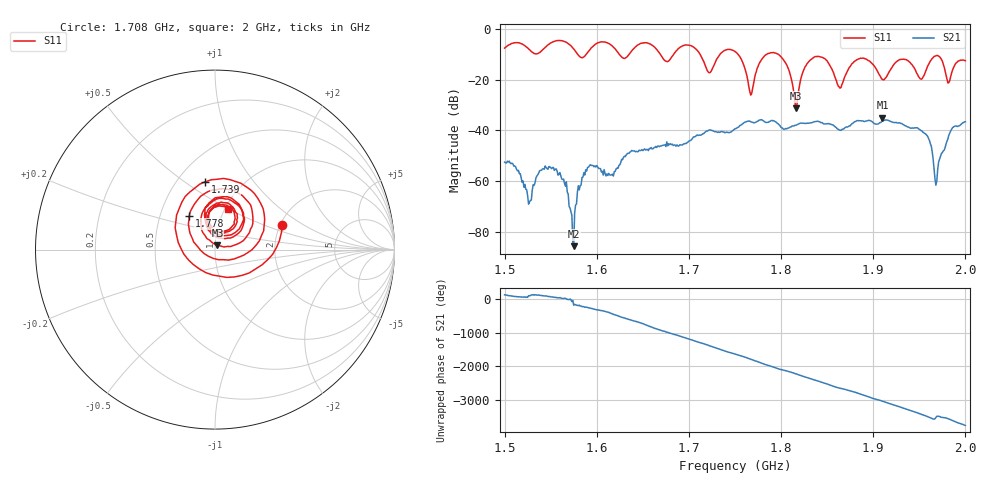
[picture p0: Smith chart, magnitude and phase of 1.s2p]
! NanoVNA-App by SYSJOINT et al v1.1.209 (+OD18)
! Date: 2026-01-21 14:20:16
! Start: 1,5GHz Stop: 2GHz Points: 501
! S-Parameter data: F S11 S21 S12 S22
# Hz S RI R 50
!  Frequency  S11_Real  S11_Imag  S21_Real  S21_Imag  S12_Real  S12_Imag  S22_Real  S22_Imag
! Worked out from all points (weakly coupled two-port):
!   501 points, 1.5 GHz to 2 GHz, reference 50 ohm
!   highest |S21| = -34.96 dB at 1.91 GHz (marker M1); lowest = -85.8 dB at 1.575 GHz (marker M2)
!   lowest |S11| = -31.3 dB at 1.816 GHz (marker M3), VSWR 1.06, Z = 51.4 + j2.4 ohm
!   |S11| at or under -10 dB: 1.712 GHz to 1.734 GHz (21.42 MHz wide, 1.24 % of centre); 1.753 GHz to 1.784 GHz (30.61 MHz wide, 1.73 % of centre); 1.797 GHz to end of sweep (the widest 3 of 6)
!   S12 and S22 are empty: the file has one direction only
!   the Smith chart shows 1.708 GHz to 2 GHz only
!   S11 on the Smith chart (normalised r, x): 1.708 GHz: 2.06, +0.66; 1.739 GHz: 0.68, +0.60; 1.778 GHz: 0.70, +0.28; 2 GHz: 1.03, +0.50
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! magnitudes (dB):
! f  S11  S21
! 1.5 GHz  -7.5  -52.5
! 1.527 GHz  -8.1  -68.4
! 1.555 GHz  -4.7  -55.3
! 1.575 GHz  -7.8  -85.8
! 1.584 GHz  -11.3  -58.6
! 1.667 GHz  -8.9  -46.2
! 1.708 GHz  -8.0  -42.1
! 1.722 GHz  -17.2  -39.9
! 1.739 GHz  -8.4  -41.0
! 1.75 GHz  -8.8  -39.4
! 1.767 GHz  -26.0  -36.6
! 1.778 GHz  -12.5  -35.9
! 1.801 GHz  -11.4  -38.9
! 1.816 GHz  -31.3  -38.0
! 1.834 GHz  -11.6  -36.9
! 1.863 GHz  -22.8  -39.8
! 1.91 GHz  -19.8  -35.0
! 1.917 GHz  -17.0  -36.2
! 1.957 GHz  -16.5  -41.5
! 1.968 GHz  -10.5  -61.7
! 1.982 GHz  -21.1  -41.9
! 2 GHz  -12.5  -36.6
